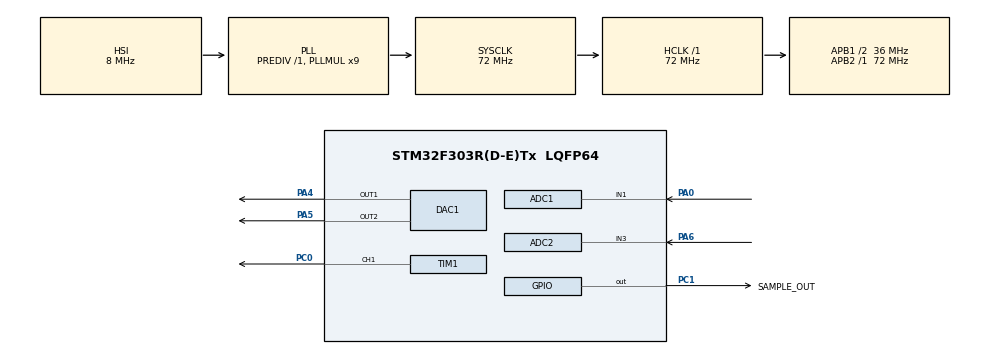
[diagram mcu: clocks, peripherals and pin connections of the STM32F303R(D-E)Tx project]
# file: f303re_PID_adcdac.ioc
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ADC1.Channel-0\#ChannelRegularConversion=ADC_CHANNEL_1
ADC1.ClockPrescaler=ADC_CLOCK_ASYNC_DIV1
ADC1.ExternalTrigConv=ADC_EXTERNALTRIGCONV_T1_TRGO
ADC1.ExternalTrigConvEdge=ADC_EXTERNALTRIGCONVEDGE_RISINGFALLING
ADC1.NbrOfConversionFlag=1
ADC1.Offset-0\#ChannelRegularConversion=0
ADC1.OffsetNumber-0\#ChannelRegularConversion=ADC_OFFSET_NONE
ADC1.Rank-0\#ChannelRegularConversion=1
ADC1.SamplingTime-0\#ChannelRegularConversion=ADC_SAMPLETIME_1CYCLE_5
ADC1.master=1
ADC2.Channel-0\#ChannelRegularConversion=ADC_CHANNEL_3
ADC2.NbrOfConversionFlag=1
ADC2.Offset-0\#ChannelRegularConversion=0
ADC2.OffsetNumber-0\#ChannelRegularConversion=ADC_OFFSET_NONE
ADC2.Rank-0\#ChannelRegularConversion=1
ADC2.SamplingTime-0\#ChannelRegularConversion=ADC_SAMPLETIME_1CYCLE_5
ADC2.SamplingTimeOPAMP-0\#ChannelRegularConversion=ADC_SAMPLETIME_7CYCLES_5
Dma.ADC1.2.Direction=DMA_PERIPH_TO_MEMORY
Dma.ADC1.2.Instance=DMA1_Channel1
Dma.ADC1.2.MemDataAlignment=DMA_MDATAALIGN_HALFWORD
Dma.ADC1.2.MemInc=DMA_MINC_ENABLE
Dma.ADC1.2.Mode=DMA_CIRCULAR
Dma.ADC1.2.PeriphDataAlignment=DMA_PDATAALIGN_HALFWORD
Dma.ADC1.2.PeriphInc=DMA_PINC_DISABLE
Dma.ADC1.2.Priority=DMA_PRIORITY_VERY_HIGH
Dma.ADC2.3.Direction=DMA_PERIPH_TO_MEMORY
Dma.ADC2.3.Instance=DMA2_Channel1
Dma.ADC2.3.MemDataAlignment=DMA_MDATAALIGN_HALFWORD
Dma.ADC2.3.MemInc=DMA_MINC_ENABLE
Dma.ADC2.3.Mode=DMA_CIRCULAR
Dma.ADC2.3.PeriphDataAlignment=DMA_PDATAALIGN_HALFWORD
Dma.ADC2.3.PeriphInc=DMA_PINC_DISABLE
Dma.ADC2.3.Priority=DMA_PRIORITY_VERY_HIGH
Dma.DAC1_CH1.0.Direction=DMA_MEMORY_TO_PERIPH
Dma.DAC1_CH1.0.Instance=DMA1_Channel3
Dma.DAC1_CH1.0.MemDataAlignment=DMA_MDATAALIGN_HALFWORD
Dma.DAC1_CH1.0.MemInc=DMA_MINC_ENABLE
Dma.DAC1_CH1.0.Mode=DMA_CIRCULAR
Dma.DAC1_CH1.0.PeriphDataAlignment=DMA_PDATAALIGN_HALFWORD
Dma.DAC1_CH1.0.PeriphInc=DMA_PINC_DISABLE
Dma.DAC1_CH1.0.Priority=DMA_PRIORITY_VERY_HIGH
Dma.DAC1_CH2.1.Direction=DMA_MEMORY_TO_PERIPH
Dma.DAC1_CH2.1.Instance=DMA1_Channel4
Dma.DAC1_CH2.1.MemDataAlignment=DMA_MDATAALIGN_HALFWORD
Dma.DAC1_CH2.1.MemInc=DMA_MINC_ENABLE
Dma.DAC1_CH2.1.Mode=DMA_CIRCULAR
Dma.DAC1_CH2.1.PeriphDataAlignment=DMA_PDATAALIGN_HALFWORD
Dma.DAC1_CH2.1.PeriphInc=DMA_PINC_DISABLE
Dma.DAC1_CH2.1.Priority=DMA_PRIORITY_VERY_HIGH
Dma.Request0=DAC1_CH1
Dma.Request1=DAC1_CH2
Dma.Request2=ADC1
Dma.Request3=ADC2
Mcu.Family=STM32F3
Mcu.Name=STM32F303R(D-E)Tx
Mcu.Package=LQFP64
NVIC.DMA1_Channel1_IRQn=true\:0\:0\:false\:false\:true\:false\:true
NVIC.DMA1_Channel3_IRQn=true\:0\:0\:false\:false\:true\:false\:true
NVIC.DMA1_Channel4_IRQn=true\:0\:0\:false\:false\:true\:false\:true
NVIC.DMA2_Channel1_IRQn=true\:0\:0\:false\:false\:true\:false\:true
NVIC.PriorityGroup=NVIC_PRIORITYGROUP_4
PA0.Mode=IN1-Single-Ended
PA0.Signal=ADC1_IN1
PA4.Signal=COMP_DAC11_group
PA5.Signal=COMP_DAC12_group
PA6.Mode=IN3-Single-Ended
PA6.Signal=ADC2_IN3
PC0.Signal=S_TIM1_CH1
PC1.GPIO_Label=SAMPLE_OUT
PC1.Signal=GPIO_Output
ProjectManager.HeapSize=0x200
ProjectManager.StackSize=0x400
ProjectManager.TargetToolchain=STM32CubeIDE
RCC.AHBFreq_Value=72000000
RCC.APB1CLKDivider=RCC_HCLK_DIV2
RCC.APB1Freq_Value=36000000
RCC.APB1TimFreq_Value=72000000
RCC.APB2Freq_Value=72000000
RCC.APB2TimFreq_Value=72000000
RCC.CortexFreq_Value=72000000
RCC.HCLKFreq_Value=72000000
RCC.HSE_VALUE=8000000
RCC.HSI_VALUE=8000000
RCC.LSE_VALUE=32768
RCC.PLLMUL=RCC_PLL_MUL9
RCC.SYSCLKFreq_VALUE=72000000
RCC.SYSCLKSourceVirtual=RCC_SYSCLKSOURCE_PLLCLK
RCC.USBFreq_Value=72000000
SH.COMP_DAC11_group.0=DAC1_OUT1,DAC_OUT1
SH.COMP_DAC12_group.0=DAC1_OUT2,Enable_DAC_OUT2
SH.S_TIM1_CH1.0=TIM1_CH1,Output Compare1 CH1
TIM1.Channel-Output\ Compare1\ CH1=TIM_CHANNEL_1
TIM1.OCMode_1=TIM_OCMODE_TOGGLE
TIM1.Period=1000-1
TIM1.Prescaler=9-1
TIM1.TIM_MasterOutputTrigger=TIM_TRGO_UPDATE
TIM2.Prescaler=72
VP_TIM1_VS_ClockSourceINT.Mode=Internal
VP_TIM2_VS_ClockSourceINT.Mode=Internal
board=custom

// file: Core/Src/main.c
/* USER CODE BEGIN Header */
/**
  ******************************************************************************
  * @file           : main.c
  * @brief          : Main program body
  ******************************************************************************
  * @attention
  *
  * <h2><center>&copy; Copyright (c) 2021 STMicroelectronics.
  * All rights reserved.</center></h2>
  *
  * This software component is licensed by ST under BSD 3-Clause license,
  * the "License"; You may not use this file except in compliance with the
  * License. You may obtain a copy of the License at:
  *                        opensource.org/licenses/BSD-3-Clause
  *
  ******************************************************************************
  */
/* USER CODE END Header */
#include "main.h"

/* USER CODE BEGIN Includes */
#include "arm_math.h"
/* USER CODE END Includes */

ADC_HandleTypeDef hadc1;
ADC_HandleTypeDef hadc2;
DMA_HandleTypeDef hdma_adc1;
DMA_HandleTypeDef hdma_adc2;

DAC_HandleTypeDef hdac1;
DMA_HandleTypeDef hdma_dac1_ch1;
DMA_HandleTypeDef hdma_dac1_ch2;

TIM_HandleTypeDef htim1;
TIM_HandleTypeDef htim2;

/* USER CODE BEGIN PV */
volatile unsigned int *DWT_CYCCNT  ;
volatile unsigned int *DWT_CONTROL ;
volatile unsigned int *SCB_DEMCR   ;

/* USER CODE END PV */

void SystemClock_Config(void);
static void MX_GPIO_Init(void);
static void MX_DMA_Init(void);
static void MX_ADC1_Init(void);
static void MX_DAC1_Init(void);
static void MX_ADC2_Init(void);
static void MX_TIM1_Init(void);
static void MX_TIM2_Init(void);
/* USER CODE BEGIN PFP */
unsigned int perf_counter_value(void);
void perf_counter_start(void);
void perf_counter_stop(void);
void perf_counter_reset(void);
/* USER CODE END PFP */

int main(void)
{

  /* MCU Configuration--------------------------------------------------------*/

  /* Reset of all peripherals, Initializes the Flash interface and the Systick. */
  HAL_Init();

  /* USER CODE BEGIN Init */
  uint16_t adcVal = 0;
  uint32_t dacVal = 0;
  uint32_t loop_cnt = 0;

  unsigned int perf_cycles;

  float adcVolt     = 0.0f;
  float desiredVolt = 1.5f;
  float pidIn       = 0.0f;
  float pidOut      = 0.0f;

  /* USER CODE END Init */

  /* Configure the system clock */
  SystemClock_Config();

  /* Initialize all configured peripherals */
  MX_GPIO_Init();
  MX_DMA_Init();
  MX_ADC1_Init();
  MX_DAC1_Init();
  MX_ADC2_Init();
  MX_TIM1_Init();
  MX_TIM2_Init();
  /* USER CODE BEGIN 2 */

  // TIM2 should have a period of 1us
  // use TIM2 to measure time spent in parts of software
  HAL_TIM_Base_Start(&htim2);

  // TIM1 should have a period of 1/8 kHz
  HAL_TIM_Base_Start(&htim1);
  HAL_TIM_OC_Start(&htim1, TIM_CHANNEL_1); // debug output

  HAL_ADC_Start(&hadc1);
  HAL_DAC_Start(&hdac1, DAC_CHANNEL_1);

  // initialize CMSIS PID controller
  arm_pid_instance_f32 myPID;
  myPID.Kp = 0.1f;
  myPID.Ki = 0.001f;
  myPID.Kd = 0.00f;

  arm_pid_init_f32(&myPID, 1);
  /* USER CODE END 2 */

  /* Infinite loop */
  while (1)
  {

    /* USER CODE BEGIN 3 */
	  // wait for TIM1 triggering ADC conversion at 8 kHz
	  HAL_ADC_PollForConversion(&hadc1, 1000);
	  // enter critical part: set GPIO to trigger oscilloscope
	  HAL_GPIO_WritePin(SAMPLE_OUT_GPIO_Port, SAMPLE_OUT_Pin, GPIO_PIN_SET);
	  // start performance counter (count CPU cycles)
	  perf_counter_reset();
	  perf_counter_start();

	  // read new ADC value
	  adcVal = (uint16_t)HAL_ADC_GetValue(&hadc1);

	  // convert ADC value to float voltage
	  adcVolt = (float)adcVal / 4096.0f * 3.3f;

	  // calculate delta ("error")
	  pidIn = desiredVolt - adcVolt;

	  // run PID with one sample
	  pidOut = arm_pid_f32(&myPID, pidIn);

	  // convert PID output to DAC value
	  dacVal = (uint32_t)( pidOut /3.3f * 4096.0f );
	  if (dacVal >= 4094)
		  dacVal = 4094;
	  HAL_DAC_SetValue(&hdac1, DAC_CHANNEL_1, DAC_ALIGN_12B_R, dacVal);

	  // stop performance counter (at 287 cycles)
	  perf_counter_stop();
	  perf_cycles = perf_counter_value();
	  // exit critical part: reset GPIO
	  HAL_GPIO_WritePin(SAMPLE_OUT_GPIO_Port, SAMPLE_OUT_Pin, GPIO_PIN_RESET);

	  // use the remaining time to do other things
	  // (non-blocking !!!)
	  loop_cnt++;
	  if(loop_cnt > 8000){
		  loop_cnt = 0;
		  if(desiredVolt > 0.5f)
			  desiredVolt = 0.5f;
		  else
			  desiredVolt = 1.5f;
	  }
  }
  /* USER CODE END 3 */
}

void SystemClock_Config(void)
{
  RCC_OscInitTypeDef RCC_OscInitStruct = {0};
  RCC_ClkInitTypeDef RCC_ClkInitStruct = {0};
  RCC_PeriphCLKInitTypeDef PeriphClkInit = {0};

  /** Initializes the RCC Oscillators according to the specified parameters
  * in the RCC_OscInitTypeDef structure.
  */
  RCC_OscInitStruct.OscillatorType = RCC_OSCILLATORTYPE_HSI;
  RCC_OscInitStruct.HSIState = RCC_HSI_ON;
  RCC_OscInitStruct.HSICalibrationValue = RCC_HSICALIBRATION_DEFAULT;
  RCC_OscInitStruct.PLL.PLLState = RCC_PLL_ON;
  RCC_OscInitStruct.PLL.PLLSource = RCC_PLLSOURCE_HSI;
  RCC_OscInitStruct.PLL.PLLMUL = RCC_PLL_MUL9;
  RCC_OscInitStruct.PLL.PREDIV = RCC_PREDIV_DIV1;
  if (HAL_RCC_OscConfig(&RCC_OscInitStruct) != HAL_OK)
  {
    Error_Handler();
  }
  /** Initializes the CPU, AHB and APB buses clocks
  */
  RCC_ClkInitStruct.ClockType = RCC_CLOCKTYPE_HCLK|RCC_CLOCKTYPE_SYSCLK
                              |RCC_CLOCKTYPE_PCLK1|RCC_CLOCKTYPE_PCLK2;
  RCC_ClkInitStruct.SYSCLKSource = RCC_SYSCLKSOURCE_PLLCLK;
  RCC_ClkInitStruct.AHBCLKDivider = RCC_SYSCLK_DIV1;
  RCC_ClkInitStruct.APB1CLKDivider = RCC_HCLK_DIV2;
  RCC_ClkInitStruct.APB2CLKDivider = RCC_HCLK_DIV1;

  if (HAL_RCC_ClockConfig(&RCC_ClkInitStruct, FLASH_LATENCY_2) != HAL_OK)
  {
    Error_Handler();
  }
  PeriphClkInit.PeriphClockSelection = RCC_PERIPHCLK_TIM1|RCC_PERIPHCLK_ADC12
                              |RCC_PERIPHCLK_TIM2;
  PeriphClkInit.Adc12ClockSelection = RCC_ADC12PLLCLK_DIV1;
  PeriphClkInit.Tim1ClockSelection = RCC_TIM1CLK_HCLK;
  PeriphClkInit.Tim2ClockSelection = RCC_TIM2CLK_HCLK;
  if (HAL_RCCEx_PeriphCLKConfig(&PeriphClkInit) != HAL_OK)
  {
    Error_Handler();
  }
}

static void MX_ADC1_Init(void)
{

  ADC_MultiModeTypeDef multimode = {0};
  ADC_ChannelConfTypeDef sConfig = {0};

  /** Common config
  */
  hadc1.Instance = ADC1;
  hadc1.Init.ClockPrescaler = ADC_CLOCK_ASYNC_DIV1;
  hadc1.Init.Resolution = ADC_RESOLUTION_12B;
  hadc1.Init.ScanConvMode = ADC_SCAN_DISABLE;
  hadc1.Init.ContinuousConvMode = DISABLE;
  hadc1.Init.DiscontinuousConvMode = DISABLE;
  hadc1.Init.ExternalTrigConvEdge = ADC_EXTERNALTRIGCONVEDGE_RISINGFALLING;
  hadc1.Init.ExternalTrigConv = ADC_EXTERNALTRIGCONV_T1_TRGO;
  hadc1.Init.DataAlign = ADC_DATAALIGN_RIGHT;
  hadc1.Init.NbrOfConversion = 1;
  hadc1.Init.DMAContinuousRequests = DISABLE;
  hadc1.Init.EOCSelection = ADC_EOC_SINGLE_CONV;
  hadc1.Init.LowPowerAutoWait = DISABLE;
  hadc1.Init.Overrun = ADC_OVR_DATA_OVERWRITTEN;
  if (HAL_ADC_Init(&hadc1) != HAL_OK)
  {
    Error_Handler();
  }
  /** Configure the ADC multi-mode
  */
  multimode.Mode = ADC_MODE_INDEPENDENT;
  if (HAL_ADCEx_MultiModeConfigChannel(&hadc1, &multimode) != HAL_OK)
  {
    Error_Handler();
  }
  /** Configure Regular Channel
  */
  sConfig.Channel = ADC_CHANNEL_1;
  sConfig.Rank = ADC_REGULAR_RANK_1;
  sConfig.SingleDiff = ADC_SINGLE_ENDED;
  sConfig.SamplingTime = ADC_SAMPLETIME_1CYCLE_5;
  sConfig.OffsetNumber = ADC_OFFSET_NONE;
  sConfig.Offset = 0;
  if (HAL_ADC_ConfigChannel(&hadc1, &sConfig) != HAL_OK)
  {
    Error_Handler();
  }

}

static void MX_ADC2_Init(void)
{

  ADC_ChannelConfTypeDef sConfig = {0};

  /** Common config
  */
  hadc2.Instance = ADC2;
  hadc2.Init.ClockPrescaler = ADC_CLOCK_ASYNC_DIV1;
  hadc2.Init.Resolution = ADC_RESOLUTION_12B;
  hadc2.Init.ScanConvMode = ADC_SCAN_DISABLE;
  hadc2.Init.ContinuousConvMode = DISABLE;
  hadc2.Init.DiscontinuousConvMode = DISABLE;
  hadc2.Init.ExternalTrigConvEdge = ADC_EXTERNALTRIGCONVEDGE_NONE;
  hadc2.Init.ExternalTrigConv = ADC_SOFTWARE_START;
  hadc2.Init.DataAlign = ADC_DATAALIGN_RIGHT;
  hadc2.Init.NbrOfConversion = 1;
  hadc2.Init.DMAContinuousRequests = DISABLE;
  hadc2.Init.EOCSelection = ADC_EOC_SINGLE_CONV;
  hadc2.Init.LowPowerAutoWait = DISABLE;
  hadc2.Init.Overrun = ADC_OVR_DATA_OVERWRITTEN;
  if (HAL_ADC_Init(&hadc2) != HAL_OK)
  {
    Error_Handler();
  }
  /** Configure Regular Channel
  */
  sConfig.Channel = ADC_CHANNEL_3;
  sConfig.Rank = ADC_REGULAR_RANK_1;
  sConfig.SingleDiff = ADC_SINGLE_ENDED;
  sConfig.SamplingTime = ADC_SAMPLETIME_1CYCLE_5;
  sConfig.OffsetNumber = ADC_OFFSET_NONE;
  sConfig.Offset = 0;
  if (HAL_ADC_ConfigChannel(&hadc2, &sConfig) != HAL_OK)
  {
    Error_Handler();
  }

}

static void MX_DAC1_Init(void)
{

  DAC_ChannelConfTypeDef sConfig = {0};

  /** DAC Initialization
  */
  hdac1.Instance = DAC1;
  if (HAL_DAC_Init(&hdac1) != HAL_OK)
  {
    Error_Handler();
  }
  /** DAC channel OUT1 config
  */
  sConfig.DAC_Trigger = DAC_TRIGGER_NONE;
  sConfig.DAC_OutputBuffer = DAC_OUTPUTBUFFER_ENABLE;
  if (HAL_DAC_ConfigChannel(&hdac1, &sConfig, DAC_CHANNEL_1) != HAL_OK)
  {
    Error_Handler();
  }
  /** DAC channel OUT2 config
  */
  if (HAL_DAC_ConfigChannel(&hdac1, &sConfig, DAC_CHANNEL_2) != HAL_OK)
  {
    Error_Handler();
  }

}

static void MX_TIM1_Init(void)
{

  TIM_ClockConfigTypeDef sClockSourceConfig = {0};
  TIM_MasterConfigTypeDef sMasterConfig = {0};
  TIM_OC_InitTypeDef sConfigOC = {0};
  TIM_BreakDeadTimeConfigTypeDef sBreakDeadTimeConfig = {0};

  htim1.Instance = TIM1;
  htim1.Init.Prescaler = 9-1;
  htim1.Init.CounterMode = TIM_COUNTERMODE_UP;
  htim1.Init.Period = 100-1;
  htim1.Init.ClockDivision = TIM_CLOCKDIVISION_DIV1;
  htim1.Init.RepetitionCounter = 0;
  htim1.Init.AutoReloadPreload = TIM_AUTORELOAD_PRELOAD_DISABLE;
  if (HAL_TIM_Base_Init(&htim1) != HAL_OK)
  {
    Error_Handler();
  }
  sClockSourceConfig.ClockSource = TIM_CLOCKSOURCE_INTERNAL;
  if (HAL_TIM_ConfigClockSource(&htim1, &sClockSourceConfig) != HAL_OK)
  {
    Error_Handler();
  }
  if (HAL_TIM_OC_Init(&htim1) != HAL_OK)
  {
    Error_Handler();
  }
  sMasterConfig.MasterOutputTrigger = TIM_TRGO_UPDATE;
  sMasterConfig.MasterOutputTrigger2 = TIM_TRGO2_RESET;
  sMasterConfig.MasterSlaveMode = TIM_MASTERSLAVEMODE_DISABLE;
  if (HAL_TIMEx_MasterConfigSynchronization(&htim1, &sMasterConfig) != HAL_OK)
  {
    Error_Handler();
  }
  sConfigOC.OCMode = TIM_OCMODE_TOGGLE;
  sConfigOC.Pulse = 0;
  sConfigOC.OCPolarity = TIM_OCPOLARITY_HIGH;
  sConfigOC.OCNPolarity = TIM_OCNPOLARITY_HIGH;
  sConfigOC.OCFastMode = TIM_OCFAST_DISABLE;
  sConfigOC.OCIdleState = TIM_OCIDLESTATE_RESET;
  sConfigOC.OCNIdleState = TIM_OCNIDLESTATE_RESET;
  if (HAL_TIM_OC_ConfigChannel(&htim1, &sConfigOC, TIM_CHANNEL_1) != HAL_OK)
  {
    Error_Handler();
  }
  sBreakDeadTimeConfig.OffStateRunMode = TIM_OSSR_DISABLE;
  sBreakDeadTimeConfig.OffStateIDLEMode = TIM_OSSI_DISABLE;
  sBreakDeadTimeConfig.LockLevel = TIM_LOCKLEVEL_OFF;
  sBreakDeadTimeConfig.DeadTime = 0;
  sBreakDeadTimeConfig.BreakState = TIM_BREAK_DISABLE;
  sBreakDeadTimeConfig.BreakPolarity = TIM_BREAKPOLARITY_HIGH;
  sBreakDeadTimeConfig.BreakFilter = 0;
  sBreakDeadTimeConfig.Break2State = TIM_BREAK2_DISABLE;
  sBreakDeadTimeConfig.Break2Polarity = TIM_BREAK2POLARITY_HIGH;
  sBreakDeadTimeConfig.Break2Filter = 0;
  sBreakDeadTimeConfig.AutomaticOutput = TIM_AUTOMATICOUTPUT_DISABLE;
  if (HAL_TIMEx_ConfigBreakDeadTime(&htim1, &sBreakDeadTimeConfig) != HAL_OK)
  {
    Error_Handler();
  }
  HAL_TIM_MspPostInit(&htim1);

}

static void MX_TIM2_Init(void)
{

  TIM_ClockConfigTypeDef sClockSourceConfig = {0};
  TIM_MasterConfigTypeDef sMasterConfig = {0};

  htim2.Instance = TIM2;
  htim2.Init.Prescaler = 72;
  htim2.Init.CounterMode = TIM_COUNTERMODE_UP;
  htim2.Init.Period = 4294967295;
  htim2.Init.ClockDivision = TIM_CLOCKDIVISION_DIV1;
  htim2.Init.AutoReloadPreload = TIM_AUTORELOAD_PRELOAD_DISABLE;
  if (HAL_TIM_Base_Init(&htim2) != HAL_OK)
  {
    Error_Handler();
  }
  sClockSourceConfig.ClockSource = TIM_CLOCKSOURCE_INTERNAL;
  if (HAL_TIM_ConfigClockSource(&htim2, &sClockSourceConfig) != HAL_OK)
  {
    Error_Handler();
  }
  sMasterConfig.MasterOutputTrigger = TIM_TRGO_RESET;
  sMasterConfig.MasterSlaveMode = TIM_MASTERSLAVEMODE_DISABLE;
  if (HAL_TIMEx_MasterConfigSynchronization(&htim2, &sMasterConfig) != HAL_OK)
  {
    Error_Handler();
  }

}

static void MX_DMA_Init(void)
{

  /* DMA controller clock enable */
  __HAL_RCC_DMA1_CLK_ENABLE();
  __HAL_RCC_DMA2_CLK_ENABLE();

  /* DMA interrupt init */
  /* DMA1_Channel1_IRQn interrupt configuration */
  HAL_NVIC_SetPriority(DMA1_Channel1_IRQn, 0, 0);
  HAL_NVIC_EnableIRQ(DMA1_Channel1_IRQn);
  /* DMA1_Channel3_IRQn interrupt configuration */
  HAL_NVIC_SetPriority(DMA1_Channel3_IRQn, 0, 0);
  HAL_NVIC_EnableIRQ(DMA1_Channel3_IRQn);
  /* DMA1_Channel4_IRQn interrupt configuration */
  HAL_NVIC_SetPriority(DMA1_Channel4_IRQn, 0, 0);
  HAL_NVIC_EnableIRQ(DMA1_Channel4_IRQn);
  /* DMA2_Channel1_IRQn interrupt configuration */
  HAL_NVIC_SetPriority(DMA2_Channel1_IRQn, 0, 0);
  HAL_NVIC_EnableIRQ(DMA2_Channel1_IRQn);

}

static void MX_GPIO_Init(void)
{
  GPIO_InitTypeDef GPIO_InitStruct = {0};

  /* GPIO Ports Clock Enable */
  __HAL_RCC_GPIOC_CLK_ENABLE();
  __HAL_RCC_GPIOA_CLK_ENABLE();

  /*Configure GPIO pin Output Level */
  HAL_GPIO_WritePin(SAMPLE_OUT_GPIO_Port, SAMPLE_OUT_Pin, GPIO_PIN_RESET);

  /*Configure GPIO pin : SAMPLE_OUT_Pin */
  GPIO_InitStruct.Pin = SAMPLE_OUT_Pin;
  GPIO_InitStruct.Mode = GPIO_MODE_OUTPUT_PP;
  GPIO_InitStruct.Pull = GPIO_NOPULL;
  GPIO_InitStruct.Speed = GPIO_SPEED_FREQ_LOW;
  HAL_GPIO_Init(SAMPLE_OUT_GPIO_Port, &GPIO_InitStruct);

}

/* USER CODE BEGIN 4 */
void perf_counter_reset(){
    DWT_CYCCNT   = (unsigned int *)0xE0001004; //address of the register
    DWT_CONTROL  = (unsigned int *)0xE0001000; //address of the register
    SCB_DEMCR    = (unsigned int *)0xE000EDFC; //address of the register
    *SCB_DEMCR   = *SCB_DEMCR | 0x01000000;
    *DWT_CYCCNT  = 0; // reset the counter
    *DWT_CONTROL = 0;
}

void perf_counter_start(){
    *DWT_CONTROL = *DWT_CONTROL | 1 ; // enable the counter
}

void perf_counter_stop(){
    *DWT_CONTROL = *DWT_CONTROL | 0 ; // disable the counter
}

unsigned int perf_counter_value(){
    return *DWT_CYCCNT;
}
/* USER CODE END 4 */

void Error_Handler(void)
{
  __disable_irq();
  while (1)
  {
  }
}

/************************ (C) COPYRIGHT STMicroelectronics *****END OF FILE****/
